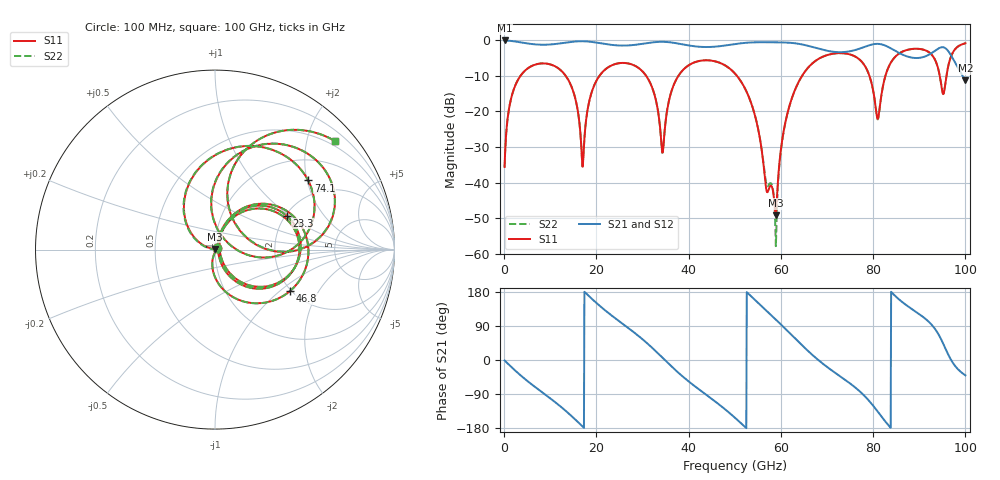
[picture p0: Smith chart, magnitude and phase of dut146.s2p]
! Touchstone file exported from HFSS 2026.1.0
!  File:  C:/ffzhzh/LocalFiles/Ansys_Project_Files/temp_train_TSV_RDL_146_1783643749_26216.aedt
!  Generated:  08:43:51 AM Jul 10, 2026
!  Design:  TSV_RDL
!  Project:  temp_train_TSV_RDL_146_1783643749_26216
! Variables:
!  h_bsmrdl = 3.37um
!  h_ox = 20um
!  h_rdl = 5um
!  h_sub = 83.58um
!  h_tmrdl = 4.83um
!  h_tsv = 83.58um
!  h_via = 3um
!  l_bsmrdl = 466.22um
!  l_sub = 3320.5um
!  l_tmrdl = 346.29um
!  m_sub = 200um
!  pitch = 54.32um
!  r_tsv = 14.42um
!  s_tmrdl = 10um
!  w_bsmrdl = 21.02um
!  w_sub = 500um
!  w_tmrdl = 24.54um
!  x_tsv_center1 = 358.56um
!  x_tsv_center2 = 845.8um
!  x_tsv_center3 = 1216.63um
!  x_tsv_center4 = 1703.87um
!  x_tsv_center5 = 2074.7um
!  x_tsv_center6 = 2561.94um
# GHz S MA R 50.000000
! Terminal data exported
! Port[1] = TM_RDL1_1_T1
! Port[2] = TM_RDL5_1_T1
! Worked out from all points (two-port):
!   1000 points, 100 MHz to 100 GHz, reference 50 ohm
!   highest |S21| = -0.11 dB at 100 MHz (marker M1); lowest = -11.3 dB at 100 GHz (marker M2)
!   |S21| within 3 dB of the highest: start of sweep to 70.44 GHz; 75.1 GHz to 84.91 GHz (9.811 GHz wide, 12.3 % of centre) (the widest 2 of 3)
!   lowest |S11| = -49.2 dB at 58.9 GHz (marker M3), VSWR 1.01, Z = 50 + j0.347 ohm
!   |S11| at or under -10 dB: 13.33 GHz to 20.68 GHz (7.359 GHz wide, 43.3 % of centre); 30.77 GHz to 37.8 GHz (7.034 GHz wide, 20.5 % of centre); 50.44 GHz to 64.61 GHz (14.17 GHz wide, 24.6 % of centre) (the widest 3 of 6)
!   |S22| runs from -57.9 to -0.9 dB; largest |S21 - S12| = 1.7e-14
!   S11 on the Smith chart (normalised r, x): 100 MHz: 1.02, +0.02; 23.3 GHz: 2.03, +0.95; 46.8 GHz: 1.98, -1.18; 74.1 GHz: 1.53, +2.03; 100 GHz: 0.39, +2.54
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0.1  0.01656 41.4  0.9878 -1.2  0.9878 -1.2  0.01656 41.4
! Gamma 0 0 0 0
! Port Impedance 50 0 50 0
2.4  0.2297 57.7  0.9554 -27.9  0.9554 -27.9  0.2297 57.7
7.9  0.4688 5.9  0.8615 -82.2  0.8615 -82.2  0.4688 5.9
14.1  0.2617 -50.9  0.9353 -142.3  0.9353 -142.3  0.2617 -50.9
16.8  0.02626 -45.4  0.9631 -173.0  0.9631 -173.0  0.02654 -44.3
19.3  0.2128 62.8  0.9364 158.3  0.9364 158.3  0.213 62.6
23.3  0.4413 25.4  0.856 117.4  0.856 117.4  0.4414 25.3
30  0.3634 -33.7  0.8866 54.7  0.8866 54.7  0.3635 -33.8
33.4  0.09684 -58.9  0.9429 17.0  0.9429 17.0  0.09682 -59.1
34.4  0.02683 17.9  0.9453 5.2  0.9453 5.2  0.02661 17.9
39.5  0.4198 35.4  0.8515 -51.6  0.8515 -51.6  0.4199 35.3
46.8  0.4782 -28.6  0.8212 -119.3  0.8212 -119.3  0.4783 -28.7
50.1  0.3358 -60.1  0.8801 -153.0  0.8801 -153.0  0.336 -60.2
58.9  0.00348 94.0  0.9304 106.7  0.9304 106.7  0.00128 71.2
61.4  0.09268 155.9  0.9214 77.3  0.9214 77.3  0.09203 157.8
66.7  0.4634 100.7  0.8039 14.7  0.8039 14.7  0.4629 101.2
74.1  0.6466 36.6  0.6832 -53.9  0.6832 -53.9  0.6464 36.8
81  0.07813 42.9  0.885 -136.3  0.885 -136.3  0.0769 42.9
83.4  0.4257 86.5  0.7932 -173.3  0.7932 -173.3  0.4251 86.8
93.8  0.4601 -0.4  0.7367 75.1  0.7367 75.1  0.4601 -0.1
96.1  0.3754 78.8  0.7235 18.9  0.7235 18.9  0.3765 78.7
100  0.9013 42.2  0.2727 -40.5  0.2727 -40.5  0.9014 42.2
